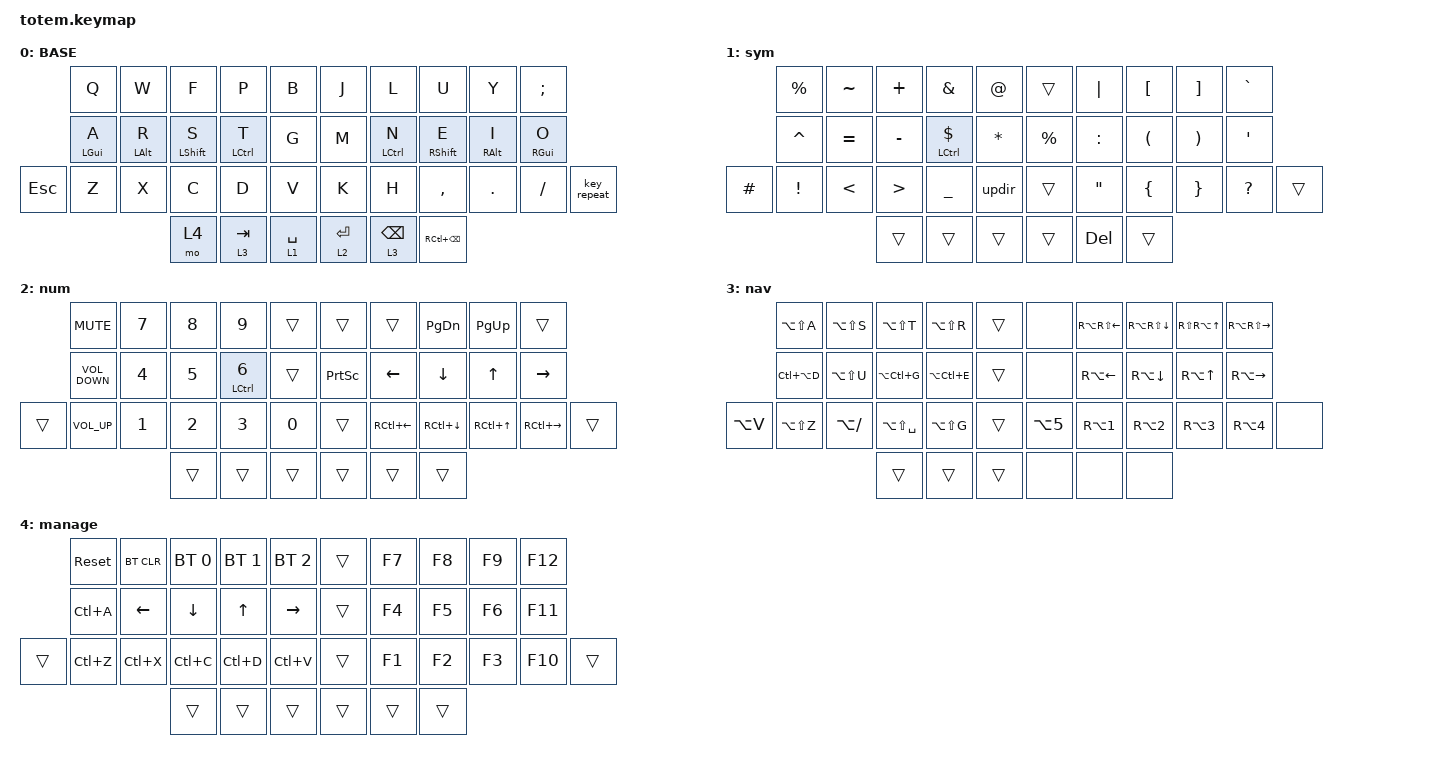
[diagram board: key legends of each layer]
//
//                                                        ▀▀▀▀▀     ▀▀▀▀▀          ▀▀█▀▀
//                                                        ▄▀▀▀▄  ▄  ▄▀▀▀▄  ▄  ▄▀▀▀▄  █  ▄▀▀▀▄
//                                                        █   █  █  █   █  █  █   █  █  █   █
//                                                         ▀▀▀   █   ▀▀▀   █   ▀▀▀   ▀   ▀▀▀
//                                                               █      ▄▄▄█▄▄▄    █   █  
//                                                               ▀      █  █  █     █▄█
//                                                             ▀▀▀▀▀    █  █  █      ▀
//                                                                      ▀  ▀  ▀
//
// ▄▄▄▄▄▄▄▄▄▄▄▄▄▄▄▄▄▄▄▄▄▄▄▄▄▄▄▄▄▄▄▄▄▄▄▄▄▄▄▄▄▄▄▄▄▄▄▄▄▄▄▄▄▄▄▄▄▄▄▄▄▄▄▄▄▄▄▄▄▄▄▄▄▄▄▄▄▄▄▄▄▄▄▄▄▄▄▄▄▄▄▄▄▄▄▄▄▄▄▄▄▄▄▄▄▄▄▄▄▄▄▄▄▄▄▄▄▄▄▄▄▄▄▄▄▄▄▄▄▄▄▄▄▄▄▄▄▄▄▄▄▄▄▄▄▄▄▄▄

#include <behaviors.dtsi>
#include <dt-bindings/zmk/bt.h>
#include <dt-bindings/zmk/keys.h>

#define BASE 0
#define NAV  1
#define SYM  2
#define ADJ  3
#define TVP1 4
#define TVP2 5

/ {
    combos {
        compatible = "zmk,combos";

        ctrl_c {
            bindings = <&kp LC(C)>;
            key-positions = <22 23>;
        };

        ctrl_v {
            bindings = <&kp LC(V)>;
            key-positions = <23 24>;
        };

        ca_word {
            bindings = <&caps_word>;
            key-positions = <21 22>;
        };

        ca_lock {
            bindings = <&kp CAPSLOCK>;
            key-positions = <29 30>;
        };

        backslash {
            bindings = <&kp BACKSLASH>;
            key-positions = <8 7>;
        };
    };

    macros {
        updir: updir {
            compatible = "zmk,behavior-macro";
            #binding-cells = <0>;
            bindings = <&kp PERIOD &kp PERIOD &kp SLASH &kp RETURN>;
            label = "UPDIR";
        };
    };

    behaviors {
        RHS_HMR: RHS_HMR {
            compatible = "zmk,behavior-hold-tap";
            label = "RHS_HMR";
            bindings = <&kp>, <&kp>;

            #binding-cells = <2>;
            tapping-term-ms = <200>;
            quick-tap-ms = <175>;
            require-prior-idle-ms = <125>;
            flavor = "balanced";
            hold-trigger-key-positions = <0 10 11 12 13 14 20 21 22 23 24 25 1 2 3 4 12 32 33 34>;
            hold-trigger-on-release;
        };

        LHS_HMR: LHS_HMR {
            compatible = "zmk,behavior-hold-tap";
            label = "LHS_HMR";
            bindings = <&kp>, <&kp>;

            #binding-cells = <2>;
            tapping-term-ms = <200>;
            quick-tap-ms = <175>;
            require-prior-idle-ms = <125>;
            flavor = "balanced";
            hold-trigger-on-release;
            hold-trigger-key-positions = <5 6 7 8 9 15 16 17 18 19 26 27 28 29 30 31 26 35 36 37 32 33 34>;
        };
    };

    keymap {
        compatible = "zmk,keymap";

        // ▄▄▄▄▄▄▄▄▄▄▄▄▄▄▄▄▄▄▄▄▄▄▄▄▄▄▄▄▄▄▄▄▄▄▄▄▄▄▄▄▄▄▄▄▄▄▄▄▄▄▄▄▄▄▄▄▄▄▄▄▄▄▄▄▄▄▄▄▄▄▄▄▄▄▄▄▄▄▄▄▄▄▄▄▄▄▄▄▄▄▄▄▄▄▄▄▄▄▄▄▄▄▄▄▄▄▄▄▄▄▄▄▄▄▄▄▄▄▄▄▄▄▄▄▄▄▄▄▄▄▄▄▄▄▄▄▄▄▄▄▄▄▄▄▄▄▄▄▄

        base_layer {
            // ┏━━━━━━━━━━━━━━━━━━━━━━━━━━━━━━━━━━━━━━━┓

            label = "BASE";

            // ┗━━━━━━━━━━━━━━━━━━━━━━━━━━━━━━━━━━━━━━━┛
            //             ┏━━━━━━━━━━━┳━━━━━━━━━━━┳━━━━━━━━━━━┳━━━━━━━━━━━┳━━━━━━━━━━━┓   ┏━━━━━━━━━━━┳━━━━━━━━━━━┳━━━━━━━━━━━┳━━━━━━━━━━━┳━━━━━━━━━━━┓
            //             ┃     Q     ┃     W     ┃     F     ┃     P     ┃     G     ┃   ┃     J     ┃     L     ┃     U     ┃     Y     ┃     ;     ┃
            //             ┣━━━━━━━━━━━╋━━━━━━━━━━━╋━━━━━━━━━━━╋━━━━━━━━━━━╋━━━━━━━━━━━┫   ┣━━━━━━━━━━━╋━━━━━━━━━━━╋━━━━━━━━━━━╋━━━━━━━━━━━╋━━━━━━━━━━━┫
            //             ┃     A     ┃     R     ┃     S     ┃     T     ┃     D     ┃   ┃     H     ┃     N     ┃     E     ┃     I     ┃     O     ┃
            // ┏━━━━━━━━━━━╋━━━━━━━━━━━╋━━━━━━━━━━━╋━━━━━━━━━━━╋━━━━━━━━━━━╋━━━━━━━━━━━┫   ┣━━━━━━━━━━━╋━━━━━━━━━━━╋━━━━━━━━━━━╋━━━━━━━━━━━╋━━━━━━━━━━━╋━━━━━━━━━━━┓
            // ┃     Q     ┃     Z     ┃     X     ┃     C     ┃     V     ┃     B     ┃   ┃     K     ┃     M     ┃     ,     ┃     .     ┃     /     ┃     \     ┃
            // ┗━━━━━━━━━━━┻━━━━━━━━━━━┻━━━━━━━━━━━╋━━━━━━━━━━━╋━━━━━━━━━━━╋━━━━━━━━━━━┫   ┣━━━━━━━━━━━╋━━━━━━━━━━━╋━━━━━━━━━━━╋━━━━━━━━━━━┻━━━━━━━━━━━┻━━━━━━━━━━━┛
            //                                     ┃    DEL    ┃    TAB    ┃    SPC    ┃   ┃   ENTER   ┃           ┃   BSPC    ┃
            //                                     ┗━━━━━━━━━━━┻━━━━━━━━━━━┻━━━━━━━━━━━┛   ┗━━━━━━━━━━━┻━━━━━━━━━━━┻━━━━━━━━━━━┛

            bindings = <
            &kp Q            &kp W            &kp F                  &kp P               &kp B          &kp J        &kp L            &kp U                   &kp Y            &kp SEMICOLON
            &LHS_HMR LGUI A  &LHS_HMR LALT R  &LHS_HMR LEFT_SHIFT S  &mt LEFT_CONTROL T  &kp G          &kp M        &mt LCTRL N      &RHS_HMR RIGHT_SHIFT E  &LHS_HMR RALT I  &RHS_HMR RGUI O
&kp ESCAPE  &kp Z            &kp X            &kp C                  &kp D               &kp V          &kp K        &kp H            &kp COMMA               &kp DOT          &kp FSLH         &key_repeat
                                              &mo 4                  &lt 3 TAB           &lt 1 SPACE    &lt 2 ENTER  &lt 3 BACKSPACE  &kp RC(BSPC)
            >;
        };

        symbols {
            // ┏━━━━━━━━━━━━━━━━━━━━━━━━━━━━━━━━━━━━━━━┓

            label = "sym";

            // ┗━━━━━━━━━━━━━━━━━━━━━━━━━━━━━━━━━━━━━━━┛
            //             ┏━━━━━━━━━━━┳━━━━━━━━━━━┳━━━━━━━━━━━┳━━━━━━━━━━━┳━━━━━━━━━━━┓   ┏━━━━━━━━━━━┳━━━━━━━━━━━┳━━━━━━━━━━━┳━━━━━━━━━━━┳━━━━━━━━━━━┓
            //             ┃           ┃           ┃     UP    ┃           ┃     {     ┃   ┃     }     ┃     7     ┃     8     ┃     9     ┃     +     ┃
            //             ┣━━━━━━━━━━━╋━━━━━━━━━━━╋━━━━━━━━━━━╋━━━━━━━━━━━╋━━━━━━━━━━━┫   ┣━━━━━━━━━━━╋━━━━━━━━━━━╋━━━━━━━━━━━╋━━━━━━━━━━━╋━━━━━━━━━━━┫
            //             ┃   SHIFT   ┃   LEFT    ┃    DOWN   ┃   RIGHT   ┃     [     ┃   ┃     ]     ┃     4     ┃     5     ┃     6     ┃     -     ┃
            // ┏━━━━━━━━━━━╋━━━━━━━━━━━╋━━━━━━━━━━━╋━━━━━━━━━━━╋━━━━━━━━━━━╋━━━━━━━━━━━┫   ┣━━━━━━━━━━━╋━━━━━━━━━━━╋━━━━━━━━━━━╋━━━━━━━━━━━╋━━━━━━━━━━━╋━━━━━━━━━━━┓
            // ┃           ┃           ┃   P UP    ┃  C LOCK   ┃  P DOWN   ┃     (     ┃   ┃     )     ┃     1     ┃     2     ┃     3     ┃     *     ┃           ┃
            // ┗━━━━━━━━━━━┻━━━━━━━━━━━┻━━━━━━━━━━━╋━━━━━━━━━━━╋━━━━━━━━━━━╋━━━━━━━━━━━┫   ┣━━━━━━━━━━━╋━━━━━━━━━━━╋━━━━━━━━━━━╋━━━━━━━━━━━┻━━━━━━━━━━━┻━━━━━━━━━━━┛
            //                                     ┃           ┃    TAB    ┃    SPC    ┃   ┃    DEL    ┃     0     ┃           ┃
            //                                     ┗━━━━━━━━━━━┻━━━━━━━━━━━┻━━━━━━━━━━━┛   ┗━━━━━━━━━━━┻━━━━━━━━━━━┻━━━━━━━━━━━┛

            bindings = <
          &kp PERCENT      &kp TILDE      &kp PLUS          &kp AMPERSAND     &kp AT_SIGN     &trans       &kp PIPE           &kp LEFT_BRACKET      &kp RIGHT_BRACKET      &kp GRAVE
          &kp CARET        &kp EQUAL      &kp MINUS         &mt LCTRL DOLLAR  &kp ASTERISK    &kp PERCENT  &kp COLON          &kp LEFT_PARENTHESIS  &kp RIGHT_PARENTHESIS  &kp SQT
&kp HASH  &kp EXCLAMATION  &kp LESS_THAN  &kp GREATER_THAN  &kp UNDERSCORE    &updir          &trans       &kp DOUBLE_QUOTES  &kp LEFT_BRACE        &kp RIGHT_BRACE        &kp QUESTION  &trans
                                          &trans            &trans            &trans          &trans       &kp DELETE         &trans
            >;
        };

        num_layer {
            // ┏━━━━━━━━━━━━━━━━━━━━━━━━━━━━━━━━━━━━━━━┓

            label = "num";

            // ┗━━━━━━━━━━━━━━━━━━━━━━━━━━━━━━━━━━━━━━━┛
            //             ┏━━━━━━━━━━━┳━━━━━━━━━━━┳━━━━━━━━━━━┳━━━━━━━━━━━┳━━━━━━━━━━━┓   ┏━━━━━━━━━━━┳━━━━━━━━━━━┳━━━━━━━━━━━┳━━━━━━━━━━━┳━━━━━━━━━━━┓
            //             ┃     !     ┃     @     ┃     #     ┃     $     ┃     %     ┃   ┃     ˆ     ┃     &     ┃     Ü     ┃     '     ┃     "     ┃
            //             ┣━━━━━━━━━━━╋━━━━━━━━━━━╋━━━━━━━━━━━╋━━━━━━━━━━━╋━━━━━━━━━━━┫   ┣━━━━━━━━━━━╋━━━━━━━━━━━╋━━━━━━━━━━━╋━━━━━━━━━━━╋━━━━━━━━━━━┫
            //             ┃     Ä     ┃           ┃    SZ     ┃           ┃           ┃   ┃   MUTE    ┃   YEN     ┃   EURO    ┃  POUND    ┃     Ö     ┃
            // ┏━━━━━━━━━━━╋━━━━━━━━━━━╋━━━━━━━━━━━╋━━━━━━━━━━━╋━━━━━━━━━━━╋━━━━━━━━━━━┫   ┣━━━━━━━━━━━╋━━━━━━━━━━━╋━━━━━━━━━━━╋━━━━━━━━━━━╋━━━━━━━━━━━╋━━━━━━━━━━━┓
            // ┃           ┃  EMAIL1   ┃  EMAIL2   ┃           ┃           ┃           ┃   ┃   VOL-    ┃   VOL+    ┃   LAST    ┃   NEXT    ┃     \     ┃           ┃
            // ┗━━━━━━━━━━━┻━━━━━━━━━━━┻━━━━━━━━━━━╋━━━━━━━━━━━╋━━━━━━━━━━━╋━━━━━━━━━━━┫   ┣━━━━━━━━━━━╋━━━━━━━━━━━╋━━━━━━━━━━━╋━━━━━━━━━━━┻━━━━━━━━━━━┻━━━━━━━━━━━┛
            //                                     ┃           ┃    GIF    ┃    ADJ    ┃   ┃           ┃           ┃           ┃
            //                                     ┗━━━━━━━━━━━┻━━━━━━━━━━━┻━━━━━━━━━━━┛   ┗━━━━━━━━━━━┻━━━━━━━━━━━┻━━━━━━━━━━━┛

            bindings = <
        &kp K_MUTE         &kp N7  &kp N8  &kp N9              &trans    &trans           &trans        &kp PG_DN     &kp PG_UP   &trans
        &kp C_VOLUME_DOWN  &kp N4  &kp N5  &mt LCTRL NUMBER_6  &trans    &kp PRINTSCREEN  &kp LEFT      &kp DOWN      &kp UP      &kp RIGHT
&trans  &kp C_VOLUME_UP    &kp N1  &kp N2  &kp N3              &kp N0    &trans           &kp RC(LEFT)  &kp RC(DOWN)  &kp RC(UP)  &kp RC(RIGHT)  &trans
                                   &trans  &trans              &trans    &trans           &trans        &trans
            >;
        };

        navigation {
            // ┏━━━━━━━━━━━━━━━━━━━━━━━━━━━━━━━━━━━━━━━┓

            label = "nav";

            // ┗━━━━━━━━━━━━━━━━━━━━━━━━━━━━━━━━━━━━━━━┛
            //             ┏━━━━━━━━━━━┳━━━━━━━━━━━┳━━━━━━━━━━━┳━━━━━━━━━━━┳━━━━━━━━━━━┓   ┏━━━━━━━━━━━┳━━━━━━━━━━━┳━━━━━━━━━━━┳━━━━━━━━━━━┳━━━━━━━━━━━┓
            //             ┃ NEXT FILE ┃ MARK IN   ┃ ROTATE    ┃ MARK OUT  ┃ SHOW SNAP ┃   ┃           ┃           ┃           ┃           ┃           ┃
            //             ┣━━━━━━━━━━━╋━━━━━━━━━━━╋━━━━━━━━━━━╋━━━━━━━━━━━╋━━━━━━━━━━━┫   ┣━━━━━━━━━━━╋━━━━━━━━━━━╋━━━━━━━━━━━╋━━━━━━━━━━━╋━━━━━━━━━━━┫
            //             ┃ TVP II    ┃ LEFT      ┃ PAN       ┃ RIGHT     ┃ PLAY/FLIP ┃   ┃           ┃           ┃           ┃           ┃           ┃
            // ┏━━━━━━━━━━━╋━━━━━━━━━━━╋━━━━━━━━━━━╋━━━━━━━━━━━╋━━━━━━━━━━━╋━━━━━━━━━━━┫   ┣━━━━━━━━━━━╋━━━━━━━━━━━╋━━━━━━━━━━━╋━━━━━━━━━━━╋━━━━━━━━━━━╋━━━━━━━━━━━┓
            // ┃ FULLSCR   ┃ SHIFT     ┃ COPY      ┃ DELETE    ┃ PASTE     ┃ IMG MARK  ┃   ┃           ┃           ┃           ┃           ┃           ┃           ┃
            // ┗━━━━━━━━━━━┻━━━━━━━━━━━┻━━━━━━━━━━━╋━━━━━━━━━━━╋━━━━━━━━━━━╋━━━━━━━━━━━┫   ┣━━━━━━━━━━━╋━━━━━━━━━━━╋━━━━━━━━━━━╋━━━━━━━━━━━┻━━━━━━━━━━━┻━━━━━━━━━━━┛
            //                                     ┃           ┃ UNDO/SAVE ┃  SEL/MOV  ┃   ┃           ┃           ┃           ┃
            //                                     ┗━━━━━━━━━━━┻━━━━━━━━━━━┻━━━━━━━━━━━┛   ┗━━━━━━━━━━━┻━━━━━━━━━━━┻━━━━━━━━━━━┛

            bindings = <
           &kp LA(LS(A))  &kp LA(LS(S))  &kp LA(LS(T))      &kp LA(LS(R))  &trans    &none       &kp RA(RS(LEFT))  &kp RA(RS(DOWN))  &kp RS(RA(UP))  &kp RA(RS(RIGHT))
           &kp LC(LA(D))  &kp LA(LS(U))  &kp LA(LC(G))      &kp LA(LC(E))  &trans    &none       &kp RA(LEFT)      &kp RA(DOWN)      &kp RA(UP)      &kp RA(RIGHT)
&kp LA(V)  &kp LA(LS(Z))  &kp LA(FSLH)   &kp LA(LS(SPACE))  &kp LA(LS(G))  &trans    &kp LA(N5)  &kp RA(N1)        &kp RA(N2)        &kp RA(N3)      &kp RA(N4)         &none
                                         &trans             &trans         &trans    &none       &none             &none
            >;
        };

        manage {
            // ┏━━━━━━━━━━━━━━━━━━━━━━━━━━━━━━━━━━━━━━━┓

            label = "manage";

            // ┗━━━━━━━━━━━━━━━━━━━━━━━━━━━━━━━━━━━━━━━┛
            //             ┏━━━━━━━━━━━┳━━━━━━━━━━━┳━━━━━━━━━━━┳━━━━━━━━━━━┳━━━━━━━━━━━┓   ┏━━━━━━━━━━━┳━━━━━━━━━━━┳━━━━━━━━━━━┳━━━━━━━━━━━┳━━━━━━━━━━━┓
            //             ┃   RESET   ┃ BT CLEAR  ┃  OUT TOG  ┃           ┃           ┃   ┃           ┃    F7     ┃    F8     ┃    F9     ┃    F12    ┃
            //             ┣━━━━━━━━━━━╋━━━━━━━━━━━╋━━━━━━━━━━━╋━━━━━━━━━━━╋━━━━━━━━━━━┫   ┣━━━━━━━━━━━╋━━━━━━━━━━━╋━━━━━━━━━━━╋━━━━━━━━━━━╋━━━━━━━━━━━┫
            //             ┃ BOOTLOAD  ┃ BT NEXT   ┃           ┃           ┃           ┃   ┃           ┃    F4     ┃    F5     ┃    F6     ┃    F11    ┃
            // ┏━━━━━━━━━━━╋━━━━━━━━━━━╋━━━━━━━━━━━╋━━━━━━━━━━━╋━━━━━━━━━━━╋━━━━━━━━━━━┫   ┣━━━━━━━━━━━╋━━━━━━━━━━━╋━━━━━━━━━━━╋━━━━━━━━━━━╋━━━━━━━━━━━╋━━━━━━━━━━━┓
            // ┃           ┃           ┃ BT PREV   ┃           ┃           ┃           ┃   ┃           ┃    F1     ┃    F2     ┃    F3     ┃    F10    ┃           ┃
            // ┗━━━━━━━━━━━┻━━━━━━━━━━━┻━━━━━━━━━━━╋━━━━━━━━━━━╋━━━━━━━━━━━╋━━━━━━━━━━━┫   ┣━━━━━━━━━━━╋━━━━━━━━━━━╋━━━━━━━━━━━╋━━━━━━━━━━━┻━━━━━━━━━━━┻━━━━━━━━━━━┛
            //                                     ┃           ┃           ┃           ┃   ┃           ┃           ┃           ┃
            //                                     ┗━━━━━━━━━━━┻━━━━━━━━━━━┻━━━━━━━━━━━┛   ┗━━━━━━━━━━━┻━━━━━━━━━━━┻━━━━━━━━━━━┛

            bindings = <
        &sys_reset  &bt BT_CLR  &bt BT_SEL 0  &bt BT_SEL 1  &bt BT_SEL 2    &trans  &kp F7  &kp F8  &kp F9  &kp F12
        &kp LC(A)   &kp LEFT    &kp DOWN      &kp UP        &kp RIGHT       &trans  &kp F4  &kp F5  &kp F6  &kp F11
&trans  &kp LC(Z)   &kp LC(X)   &kp LC(C)     &kp LC(D)     &kp LC(V)       &trans  &kp F1  &kp F2  &kp F3  &kp F10  &trans
                                &trans        &trans        &trans          &trans  &trans  &trans
            >;
        };

        // ▄▄▄▄▄▄▄▄▄▄▄▄▄▄▄▄▄▄▄▄▄▄▄▄▄▄▄▄▄▄▄▄▄▄▄▄▄▄▄▄▄▄▄▄▄▄▄▄▄▄▄▄▄▄▄▄▄▄▄▄▄▄▄▄▄▄▄▄▄▄▄▄▄▄▄▄▄▄▄▄▄▄▄▄▄▄▄▄▄▄▄▄▄▄▄▄▄▄▄▄▄▄▄▄▄▄▄▄▄▄▄▄▄▄▄▄▄▄▄▄▄▄▄▄▄▄▄▄▄▄▄▄▄▄▄▄▄▄▄▄▄▄▄▄▄▄▄▄▄
    };
};
